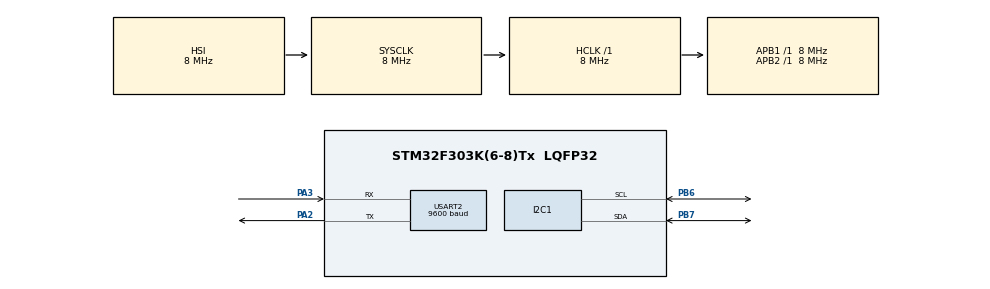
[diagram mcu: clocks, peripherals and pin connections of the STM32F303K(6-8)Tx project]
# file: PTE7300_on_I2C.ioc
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I2C1.OwnAddress=0x6C
Mcu.Family=STM32F3
Mcu.Name=STM32F303K(6-8)Tx
Mcu.Package=LQFP32
NVIC.PriorityGroup=NVIC_PRIORITYGROUP_4
PA2.Mode=Asynchronous
PA2.Signal=USART2_TX
PA3.Mode=Asynchronous
PA3.Signal=USART2_RX
PB6.GPIO_Pu=GPIO_PULLUP
PB6.Mode=I2C
PB6.Signal=I2C1_SCL
PB7.GPIO_Pu=GPIO_PULLUP
PB7.Mode=I2C
PB7.Signal=I2C1_SDA
PF0\ /\ OSC_IN.Mode=HSE-External-Oscillator
PF0\ /\ OSC_IN.Signal=RCC_OSC_IN
PF1\ /\ OSC_OUT.Mode=HSE-External-Oscillator
PF1\ /\ OSC_OUT.Signal=RCC_OSC_OUT
ProjectManager.HeapSize=0x200
ProjectManager.StackSize=0x400
ProjectManager.TargetToolchain=STM32CubeIDE
RCC.AHBFreq_Value=8000000
RCC.APB1Freq_Value=8000000
RCC.APB2Freq_Value=8000000
RCC.CortexFreq_Value=8000000
RCC.HSE_VALUE=8000000
RCC.HSI_VALUE=8000000
RCC.SYSCLKFreq_VALUE=8000000
USART2.BaudRate=9600
USART2.VirtualMode-Asynchronous=VM_ASYNC
board=custom

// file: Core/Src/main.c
/* USER CODE BEGIN Header */
/**
  ******************************************************************************
  * @file           : main.c
  * @brief          : Main program body
  ******************************************************************************
  * @attention
  *
  * Copyright (c) 2023 STMicroelectronics.
  * All rights reserved.
  *
  * This software is licensed under terms that can be found in the LICENSE file
  * in the root directory of this software component.
  * If no LICENSE file comes with this software, it is provided AS-IS.
  *
  ******************************************************************************
  */
/* USER CODE END Header */
#include "main.h"

/* USER CODE BEGIN Includes */
#include <string.h>
#include <stdio.h>

/* USER CODE END Includes */

I2C_HandleTypeDef hi2c1;

UART_HandleTypeDef huart2;

/* USER CODE BEGIN PV */
// default nodeaddress
//#define DEFAULT_NODE_ADDRESS	0x6C

// command register address
#define RAM_ADDR_CMD       0x22
// serial register
#define RAM_ADDR_SERIAL    0x50
// result registers
#define RAM_ADDR_DSP_T     0x2E
#define RAM_ADDR_DSP_S     0x30
#define RAM_ADDR_STATUS	   0x36

static const uint8_t TMP102_ADDR = 0X6C << 1; // Use 8-bit address
static const uint8_t REG_DSP_S = RAM_ADDR_DSP_S;
static const uint8_t REG_DSP_T = RAM_ADDR_DSP_T;
/* USER CODE END PV */

void SystemClock_Config(void);
static void MX_GPIO_Init(void);
static void MX_I2C1_Init(void);
static void MX_USART2_UART_Init(void);

int main(void)
{
  /* USER CODE BEGIN 1 */
	  HAL_StatusTypeDef ret;
	  uint8_t buf[32];

	  int32_t pressure;
	  _Bool bit;
  /* USER CODE END 1 */

  /* MCU Configuration--------------------------------------------------------*/

  /* Reset of all peripherals, Initializes the Flash interface and the Systick. */
  HAL_Init();

  /* Configure the system clock */
  SystemClock_Config();

  /* Initialize all configured peripherals */
  MX_GPIO_Init();
  MX_I2C1_Init();
  MX_USART2_UART_Init();

  /* Infinite loop */
  /* USER CODE BEGIN WHILE */
  while (1)
  {
	    // Tell sensor that we want to read from the register sent in buf
	    buf[0] = REG_DSP_S;
	    ret = HAL_I2C_Master_Transmit(&hi2c1, TMP102_ADDR, buf, 1, 500);
	    if ( ret != HAL_OK ) {
	      strcpy((char*)buf, "Error Tx\r\n");
	    } else {

	      // Read 2 bytes from the temperature register
	      ret = HAL_I2C_Master_Receive(&hi2c1, TMP102_ADDR, buf, 2, 500);
	      if ( ret != HAL_OK ) {
	        strcpy((char*)buf, "Error x\r\n");
	      } else {

	    	  //BITS
	          pressure = ((uint16_t)buf[1] << 8) | buf[0];

	        //Combine the bytes
	        //val = ((int16_t)buf[0] << 4) | (buf[1] >> 4);

	        // Convert to 2's complement, since temperature can be negative
	        //if ( val > 0x7FF ) {
	        //  val |= 0xF000;
	        //}

	        // Convert to float temperature value (Celsius)
	        //temp_c = val * 0.0625;

	        // Convert number to buffer output as:
	        //sprintf((char*)buf,"%u\r\n",((unsigned int)pressure));
	        sprintf((char*)buf,"%u\r\n",((signed int)pressure));

		    // Send out buffer (pressure or error message)
		    HAL_UART_Transmit(&huart2, buf, strlen((char*)buf), 200);

	    	//CONVERT DATA TO BINARY/HEX/ITD
	    	//sprintf((char*)buf,"%d",val);
/*
	        // Display the binary representation
//	          snprintf(buf, sizeof(buf), "Binary Representation: ");
//	          USART2_Print(buf);

	          for (int i = 15; i >= 0; i--) {
	            bit = (pressure >> i) & 1;
	            snprintf(buf, sizeof(buf), "%d", bit);
	            HAL_UART_Transmit(&huart2, buf, 1, 200);
	          }
*/
	      }
	    }

	    buf[0] = REG_DSP_T;
	    ret = HAL_I2C_Master_Transmit(&hi2c1, TMP102_ADDR, buf, 1, 500);
	    if ( ret != HAL_OK ) {
	      strcpy((char*)buf, "Error Tx\r\n");
	    } else {

	      // Read 2 bytes from the temperature register
	      ret = HAL_I2C_Master_Receive(&hi2c1, TMP102_ADDR, buf, 2, 500);
	      if ( ret != HAL_OK ) {
	        strcpy((char*)buf, "Error x\r\n");
	      } else {

	    	  //BITS
	          pressure = ((uint16_t)buf[1] << 8) | buf[0];

	        //Combine the bytes
	        //val = ((int16_t)buf[0] << 4) | (buf[1] >> 4);

	        // Convert to 2's complement, since temperature can be negative
	        //if ( val > 0x7FF ) {
	        //  val |= 0xF000;
	        //}

	        // Convert to float temperature value (Celsius)
	        //temp_c = val * 0.0625;

	        // Convert number to buffer output as:
	        //sprintf((char*)buf,"%u\r\n",((unsigned int)pressure));
	        sprintf((char*)buf,"%u\r\n",((signed int)pressure));

		    // Send out buffer (pressure or error message)
		    HAL_UART_Transmit(&huart2, buf, strlen((char*)buf), 200);

	    	//CONVERT DATA TO BINARY/HEX/ITD
	    	//sprintf((char*)buf,"%d",val);

/*
	        // Display the binary representation
//	          snprintf(buf, sizeof(buf), "Binary Representation: ");
//	          USART2_Print(buf);

	          for (int i = 15; i >= 0; i--) {
	            bit = (pressure >> i) & 1;
	            snprintf(buf, sizeof(buf), "%d", bit);
	            HAL_UART_Transmit(&huart2, buf, 1, 200);
	          }
*/
	      }
	    }

	    //for(int i = 0; i < strlen((char*)buf); i++){
	    //	HAL_UART_Transmit(&huart2,val,20, 1000);
	    //}

	    //HAL_UART_Transmit(&huart2,"\r\n",10, 1000);

	    // Wait
	    HAL_Delay(500);
    /* USER CODE END WHILE */

  }
}

void SystemClock_Config(void)
{
  RCC_OscInitTypeDef RCC_OscInitStruct = {0};
  RCC_ClkInitTypeDef RCC_ClkInitStruct = {0};
  RCC_PeriphCLKInitTypeDef PeriphClkInit = {0};

  /** Initializes the RCC Oscillators according to the specified parameters
  * in the RCC_OscInitTypeDef structure.
  */
  RCC_OscInitStruct.OscillatorType = RCC_OSCILLATORTYPE_HSI;
  RCC_OscInitStruct.HSIState = RCC_HSI_ON;
  RCC_OscInitStruct.HSICalibrationValue = RCC_HSICALIBRATION_DEFAULT;
  RCC_OscInitStruct.PLL.PLLState = RCC_PLL_NONE;
  if (HAL_RCC_OscConfig(&RCC_OscInitStruct) != HAL_OK)
  {
    Error_Handler();
  }

  /** Initializes the CPU, AHB and APB buses clocks
  */
  RCC_ClkInitStruct.ClockType = RCC_CLOCKTYPE_HCLK|RCC_CLOCKTYPE_SYSCLK
                              |RCC_CLOCKTYPE_PCLK1|RCC_CLOCKTYPE_PCLK2;
  RCC_ClkInitStruct.SYSCLKSource = RCC_SYSCLKSOURCE_HSI;
  RCC_ClkInitStruct.AHBCLKDivider = RCC_SYSCLK_DIV1;
  RCC_ClkInitStruct.APB1CLKDivider = RCC_HCLK_DIV1;
  RCC_ClkInitStruct.APB2CLKDivider = RCC_HCLK_DIV1;

  if (HAL_RCC_ClockConfig(&RCC_ClkInitStruct, FLASH_LATENCY_0) != HAL_OK)
  {
    Error_Handler();
  }
  PeriphClkInit.PeriphClockSelection = RCC_PERIPHCLK_I2C1;
  PeriphClkInit.I2c1ClockSelection = RCC_I2C1CLKSOURCE_HSI;
  if (HAL_RCCEx_PeriphCLKConfig(&PeriphClkInit) != HAL_OK)
  {
    Error_Handler();
  }
}

static void MX_I2C1_Init(void)
{

  hi2c1.Instance = I2C1;
  hi2c1.Init.Timing = 0x2000090E;
  hi2c1.Init.OwnAddress1 = 216;
  hi2c1.Init.AddressingMode = I2C_ADDRESSINGMODE_7BIT;
  hi2c1.Init.DualAddressMode = I2C_DUALADDRESS_DISABLE;
  hi2c1.Init.OwnAddress2 = 0;
  hi2c1.Init.OwnAddress2Masks = I2C_OA2_NOMASK;
  hi2c1.Init.GeneralCallMode = I2C_GENERALCALL_DISABLE;
  hi2c1.Init.NoStretchMode = I2C_NOSTRETCH_DISABLE;
  if (HAL_I2C_Init(&hi2c1) != HAL_OK)
  {
    Error_Handler();
  }

  /** Configure Analogue filter
  */
  if (HAL_I2CEx_ConfigAnalogFilter(&hi2c1, I2C_ANALOGFILTER_ENABLE) != HAL_OK)
  {
    Error_Handler();
  }

  /** Configure Digital filter
  */
  if (HAL_I2CEx_ConfigDigitalFilter(&hi2c1, 0) != HAL_OK)
  {
    Error_Handler();
  }

}

static void MX_USART2_UART_Init(void)
{

  huart2.Instance = USART2;
  huart2.Init.BaudRate = 9600;
  huart2.Init.WordLength = UART_WORDLENGTH_8B;
  huart2.Init.StopBits = UART_STOPBITS_1;
  huart2.Init.Parity = UART_PARITY_NONE;
  huart2.Init.Mode = UART_MODE_TX_RX;
  huart2.Init.HwFlowCtl = UART_HWCONTROL_NONE;
  huart2.Init.OverSampling = UART_OVERSAMPLING_16;
  huart2.Init.OneBitSampling = UART_ONE_BIT_SAMPLE_DISABLE;
  huart2.AdvancedInit.AdvFeatureInit = UART_ADVFEATURE_NO_INIT;
  if (HAL_UART_Init(&huart2) != HAL_OK)
  {
    Error_Handler();
  }

}

static void MX_GPIO_Init(void)
{

  /* GPIO Ports Clock Enable */
  __HAL_RCC_GPIOF_CLK_ENABLE();
  __HAL_RCC_GPIOA_CLK_ENABLE();
  __HAL_RCC_GPIOB_CLK_ENABLE();

}

void Error_Handler(void)
{
  __disable_irq();
  while (1)
  {
  }
}
